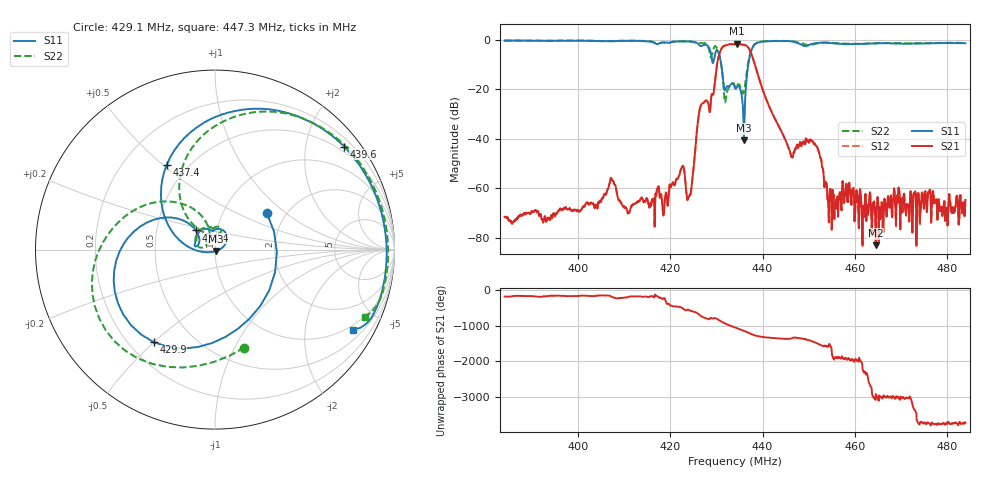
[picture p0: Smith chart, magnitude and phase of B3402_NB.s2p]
! Matrix data file written by TouchstoneData, EPCOS AG
! FILENAME: "B3402_NB.s2p"
! COMMENT: "PCB2023"
! INFO: nport=2, nfreq=1601
! DATE: "Fri Jan 10 2014"
! USER: "Hiroshi Tanaka"
! port | pin | signal
!  1  |  1  |  in
!  2  |  4  |  out
# MHZ S MA R 50
! freq  magS11 angS11  magS21 angS21  magS12 angS12  magS22 angS22
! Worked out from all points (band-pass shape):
!   1601 points, 384 MHz to 484 MHz, reference 50 ohm
!   highest |S21| = -1.43 dB at 434.4 MHz (marker M1); lowest = -83.1 dB at 464.6 MHz (marker M2)
!   |S21| within 3 dB of the highest: 430.8 MHz to 437.3 MHz (6.494 MHz wide, 1.5 % of centre)
!   lowest |S11| = -40.6 dB at 435.9 MHz (marker M3), VSWR 1.02, Z = 50.4 - j0.841 ohm
!   |S11| at or under -10 dB: 431 MHz to 436.9 MHz (5.859 MHz wide, 1.35 % of centre)
!   |S22| runs from -25.3 to -0.1 dB; largest |S21 - S12| = 0.00073
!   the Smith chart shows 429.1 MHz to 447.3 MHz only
!   S11 on the Smith chart (normalised r, x): 429.1 MHz: 1.59, +0.75; 429.9 MHz: 0.30, -0.50; 431.4 MHz: 0.79, +0.17; 437.4 MHz: 0.38, +0.51; 439.6 MHz: 0.37, +2.81; 447.3 MHz: 0.81, -3.50
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384  0.9763 -62.3  0.0002623 -177.9  0.0002675 -178.1  0.9813 -56.5
400.6875  0.9743 -71.3  0.0003681 -148.2  0.0003758 -149.1  0.9814 -65.1
417.375  0.8419 -90.1  0.001091 170.3  0.001087 170.4  0.8614 -84.5
422.5625  0.9435 -107.9  0.002776 -138.4  0.002766 -138.1  0.9373 -100.8
424.0625  0.9382 -119.0  0.0006832 163.5  0.0006833 164.4  0.9471 -111.5
426.375  0.7721 -146.1  0.04096 20.4  0.04098 20.5  0.8789 -136.5
428.25  0.7293 162.6  0.0498 -93.9  0.04979 -93.9  0.7069 142.6
429.125  0.3541 35.7  0.07983 -76.9  0.07986 -76.9  0.5703 -73.3
429.9375  0.6183 -123.5  0.2507 -73.2  0.2507 -73.2  0.7269 -159.9
431.4375  0.151 135.0  0.7458 169.6  0.7459 169.5  0.1391 106.8
432.6875  0.1157 161.5  0.8176 97.0  0.8177 96.9  0.11 159.2
434  0.1069 99.5  0.8263 33.6  0.8264 33.6  0.1142 94.1
434.4375  0.1125 89.0  0.8486 12.4  0.8487 12.4  0.1176 94.5
435.9375  0.009375 -62.8  0.8036 -60.1  0.8038 -60.1  0.0879 107.5
437.375  0.5426 119.8  0.5853 -143.8  0.5854 -143.8  0.5776 103.1
439.5625  0.9207 38.6  0.1316 133.0  0.1316 132.9  0.9317 36.3
447.3125  0.8889 -30.5  0.00659 105.0  0.006597 105.0  0.9163 -24.1
450.6875  0.8386 -27.1  0.009171 2.9  0.009182 3.0  0.8082 -24.4
454.5625  0.8723 -37.5  0.0008895 -91.8  0.0008787 -91.9  0.8897 -31.4
464.5625  0.8577 -42.8  6.969e-05 -44.0  7.071e-05 -36.9  0.8637 -36.8
467.375  0.8591 -45.3  0.0005078 -144.3  0.0005086 -143.7  0.8726 -38.8
484  0.8654 -50.7  0.0005808 -125.0  0.0005919 -125.8  0.8751 -44.2
